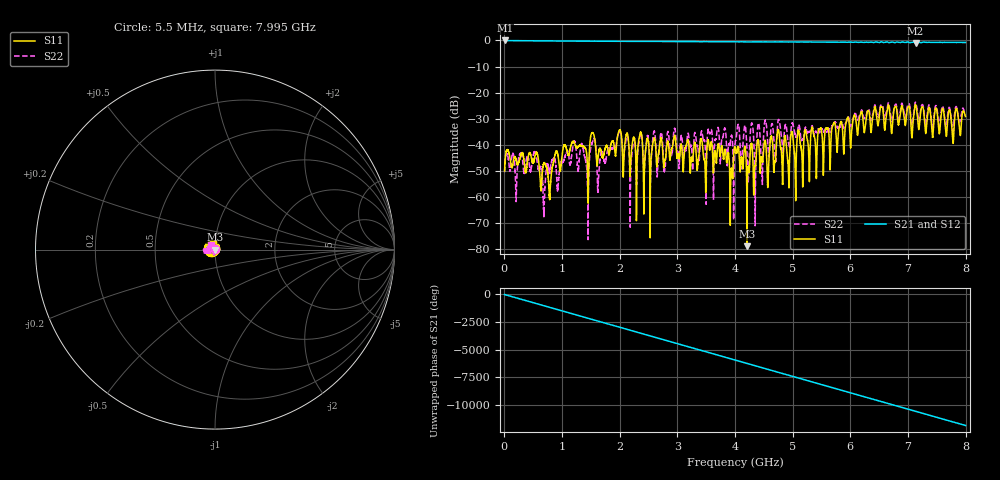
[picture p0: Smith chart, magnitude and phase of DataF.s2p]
! 9/21/2018 6:13:55 PM
! E:\DATAF.S2P
! CHANNEL.1
! TR.MEASUREMENT
! CORRECTED.DATA
# GHZ S RI R 50.0
! FREQ.GHZ  S11RE  S11IM  S21RE  S21IM  S12RE  S12IM  S22RE  S22IM
!; PortSelection: Port_12
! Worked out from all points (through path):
!   16001 points, 5.5 MHz to 7.995 GHz, reference 50 ohm
!   highest |S21| = -0.02 dB at 10.99 MHz (marker M1); lowest = -0.9 dB at 7.131 GHz (marker M2)
!   group delay of S21, straight-line fit = 4.13 ns
!   lowest |S11| = -78.7 dB at 4.209 GHz (marker M3), VSWR 1.00, Z = 50 - j0.0115 ohm
!   |S11| at or under -10 dB: start of sweep to end of sweep
!   |S22| runs from -76.2 to -23.6 dB; largest |S21 - S12| = 0.039
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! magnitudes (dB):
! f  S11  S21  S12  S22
! 5.5 MHz  -49.9  0.0  0.0  -50.4
! 10.99 MHz  -47.1  0.0  0.0  -47.5
! 529.3 MHz  -44.5  -0.2  -0.2  -42.5
! 687.1 MHz  -47.1  -0.2  -0.2  -66.1
! 1.337 GHz  -40.5  -0.3  -0.3  -39.5
! 1.438 GHz  -45.8  -0.3  -0.3  -52.0
! 1.539 GHz  -35.4  -0.3  -0.3  -38.3
! 1.637 GHz  -42.9  -0.3  -0.3  -51.5
! 1.995 GHz  -34.4  -0.3  -0.3  -35.3
! 2.191 GHz  -47.0  -0.4  -0.4  -51.6
! 2.36 GHz  -35.2  -0.4  -0.4  -35.9
! 2.669 GHz  -43.9  -0.4  -0.4  -46.5
! 3.561 GHz  -41.9  -0.5  -0.5  -35.6
! 3.936 GHz  -49.5  -0.5  -0.5  -36.6
! 4.001 GHz  -40.8  -0.5  -0.5  -39.2
! 4.209 GHz  -78.7  -0.5  -0.5  -42.7
! 4.292 GHz  -39.7  -0.6  -0.5  -31.6
! 4.351 GHz  -48.0  -0.6  -0.6  -69.7
! 5.332 GHz  -33.4  -0.6  -0.6  -32.7
! 6.664 GHz  -24.7  -0.9  -0.8  -23.9
! 7.131 GHz  -24.6  -0.9  -0.8  -23.6
! 7.995 GHz  -29.1  -0.8  -0.8  -28.7
